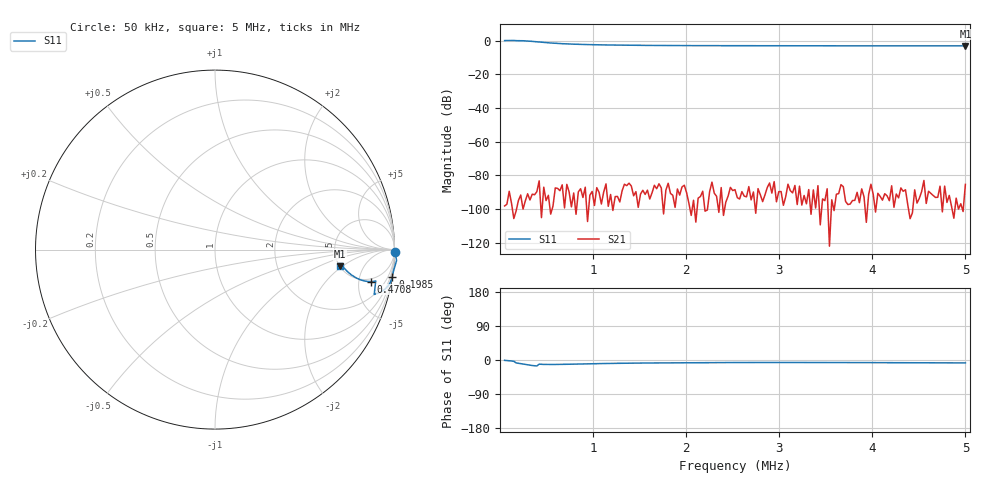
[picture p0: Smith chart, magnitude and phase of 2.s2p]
! NanoVNA-App by OneOfEleven et al v1.1.209 (+OD15)
! Date: 2024-07-30 12:37:09
! Start: 50kHz Stop: 5MHz Points: 201
! S-Parameter data: F S11 S21 S12 S22
# Hz S RI R 50
!  Frequency  S11_Real  S11_Imag  S21_Real  S21_Imag  S12_Real  S12_Imag  S22_Real  S22_Imag
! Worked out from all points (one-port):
!   201 points, 50 kHz to 5 MHz, reference 50 ohm
!   lowest |S11| = -3.1 dB at 5 MHz (marker M1), VSWR 5.69, Z = 249 - j91.9 ohm
!   |S11| at or under -10 dB: nowhere
!   S11 on the Smith chart (normalised r, x): 50 kHz: open; 198.5 kHz: 0, -13; 470.8 kHz: 4.36, -7.24; 5 MHz: 4.99, -1.84
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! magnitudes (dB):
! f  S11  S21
! 50 kHz  0.0  -98.2
! 74.75 kHz  0.0  -97.1
! 149 kHz  0.1  -105.6
! 173.8 kHz  0.0  -101.1
! 198.5 kHz  0.0  -94.9
! 248 kHz  -0.1  -100.1
! 297.5 kHz  -0.2  -90.9
! 470.8 kHz  -1.1  -87.0
! 569.8 kHz  -1.5  -98.2
! 668.8 kHz  -1.8  -85.6
! 718.2 kHz  -1.9  -85.3
! 792.5 kHz  -2.1  -90.5
! 891.5 kHz  -2.3  -93.1
! 1.04 MHz  -2.5  -87.3
! 1.238 MHz  -2.6  -92.6
! 1.411 MHz  -2.7  -86.3
! 1.708 MHz  -2.9  -85.0
! 2.154 MHz  -3.0  -92.6
! 2.525 MHz  -3.0  -88.5
! 3.366 MHz  -3.1  -88.6
! 4.183 MHz  -3.1  -95.0
! 5 MHz  -3.1  -85.3
